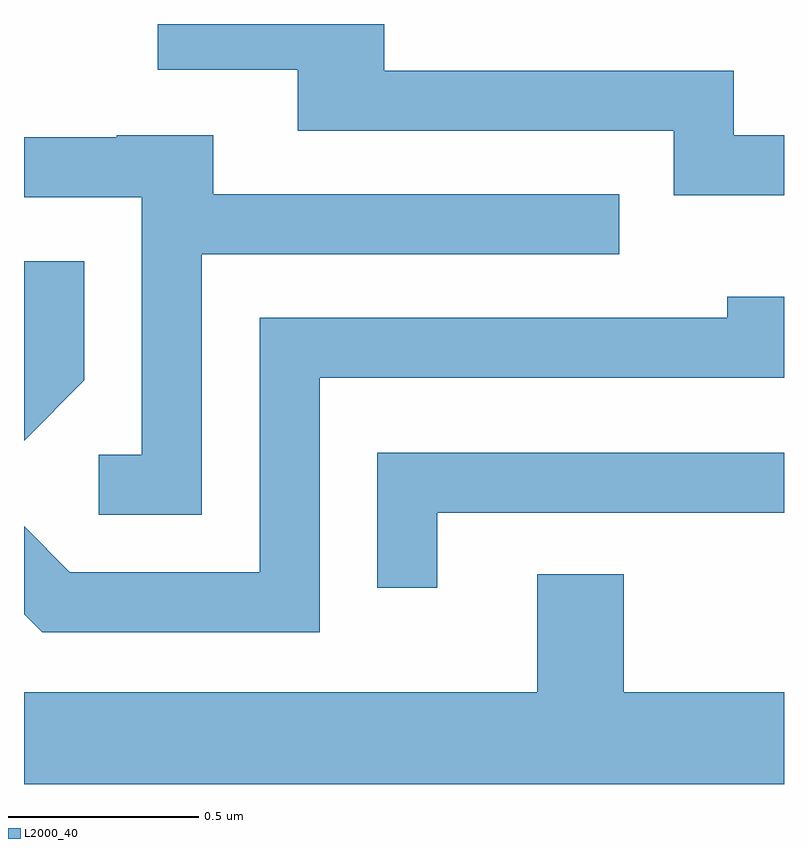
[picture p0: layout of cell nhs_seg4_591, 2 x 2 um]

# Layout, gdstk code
import gdstk
lib = gdstk.Library(unit=1e-6, precision=1e-09)
def P(c, l, *ps):  # polygons
    for p in ps: c.add(gdstk.Polygon(p, *l))
L2000_40 = (2000, 40)

nhs_seg4_591 = lib.new_cell('nhs_seg4_591')
P(nhs_seg4_591, L2000_40, [(191.611,1298.689),(191.479,1298.689),(191.479,1298.859),(190.559,1298.859),(190.559,1298.982),(189.963,1298.982),(189.963,1298.861),(190.331,1298.861),(190.331,1298.701),(191.321,1298.701),(191.321,1298.531),(191.611,1298.531)],
  [(190.079,1298.376),(191.178,1298.376),(191.178,1298.534),(190.109,1298.534),(190.109,1298.689),(189.855,1298.689),(189.855,1298.684),(189.611,1298.684),(189.611,1298.526),(189.921,1298.526),(189.921,1297.849),(189.808,1297.849),(189.808,1297.691),(190.079,1297.691)],
  [(189.769,1298.044),(189.769,1298.358),(189.611,1298.358),(189.611,1297.885)],
  [(190.389,1298.051),(191.611,1298.051),(191.611,1298.264),(191.461,1298.264),(191.461,1298.209),(190.231,1298.209),(190.231,1297.539),(189.732,1297.539),(189.611,1297.66),(189.611,1297.429),(189.659,1297.381),(190.389,1297.381)],
  [(190.699,1297.696),(191.611,1297.696),(191.611,1297.854),(190.541,1297.854),(190.541,1297.498),(190.699,1297.498)],
  [(191.611,1297.224),(191.189,1297.224),(191.189,1297.534),(190.961,1297.534),(190.961,1297.224),(189.611,1297.224),(189.611,1296.982),(191.611,1296.982)])

lib.write_gds('nhs_seg4_591.gds')
